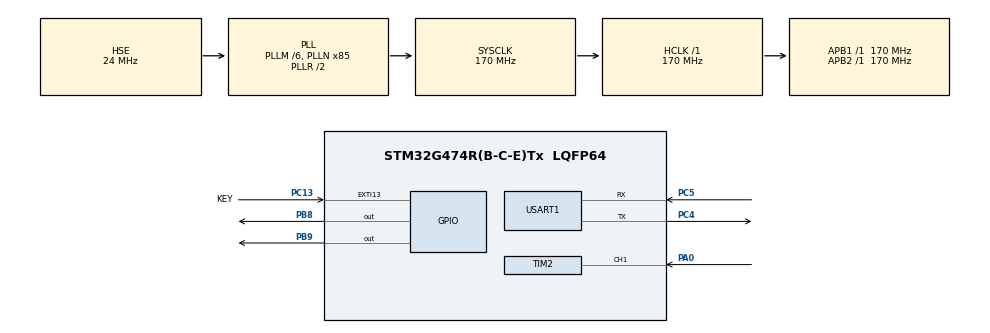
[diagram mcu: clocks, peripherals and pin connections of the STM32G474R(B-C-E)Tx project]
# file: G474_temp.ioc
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Mcu.Family=STM32G4
Mcu.Name=STM32G474R(B-C-E)Tx
Mcu.Package=LQFP64
NVIC.EXTI15_10_IRQn=true\:0\:0\:false\:false\:true\:true\:true\:true
NVIC.PriorityGroup=NVIC_PRIORITYGROUP_4
NVIC.TIM2_IRQn=true\:0\:0\:false\:false\:true\:true\:true\:true
NVIC.USART1_IRQn=true\:0\:0\:false\:false\:true\:true\:true\:true
PA0.Signal=S_TIM2_CH1
PA13.Mode=Serial_Wire
PA13.Signal=SYS_JTMS-SWDIO
PA14.Mode=Serial_Wire
PA14.Signal=SYS_JTCK-SWCLK
PB8-BOOT0.GPIO_FM8=__NULL
PB8-BOOT0.GPIO_ModeDefaultOutputPP=GPIO_MODE_OUTPUT_OD
PB8-BOOT0.GPIO_PuPd=GPIO_PULLUP
PB8-BOOT0.GPIO_Speed=GPIO_SPEED_FREQ_VERY_HIGH
PB8-BOOT0.Signal=GPIO_Output
PB9.GPIO_ModeDefaultOutputPP=GPIO_MODE_OUTPUT_OD
PB9.GPIO_PuPd=GPIO_PULLUP
PB9.GPIO_Speed=GPIO_SPEED_FREQ_VERY_HIGH
PB9.Signal=GPIO_Output
PC13.GPIO_Label=KEY
PC13.Signal=GPXTI13
PC14-OSC32_IN.Mode=LSE-External-Oscillator
PC14-OSC32_IN.Signal=RCC_OSC32_IN
PC15-OSC32_OUT.Mode=LSE-External-Oscillator
PC15-OSC32_OUT.Signal=RCC_OSC32_OUT
PC4.Mode=Asynchronous
PC4.Signal=USART1_TX
PC5.Mode=Asynchronous
PC5.Signal=USART1_RX
PF0-OSC_IN.Mode=HSE-External-Oscillator
PF0-OSC_IN.Signal=RCC_OSC_IN
PF1-OSC_OUT.Mode=HSE-External-Oscillator
PF1-OSC_OUT.Signal=RCC_OSC_OUT
ProjectManager.HeapSize=0x200
ProjectManager.StackSize=0x400
ProjectManager.TargetToolchain=MDK-ARM V5.32
RCC.ADC12Freq_Value=170000000
RCC.ADC345Freq_Value=170000000
RCC.AHBFreq_Value=170000000
RCC.APB1Freq_Value=170000000
RCC.APB1TimFreq_Value=170000000
RCC.APB2Freq_Value=170000000
RCC.APB2TimFreq_Value=170000000
RCC.CortexFreq_Value=170000000
RCC.EXTERNAL_CLOCK_VALUE=12288000
RCC.HCLKFreq_Value=170000000
RCC.HSE_VALUE=24000000
RCC.HSI48_VALUE=48000000
RCC.HSI_VALUE=16000000
RCC.PLLM=RCC_PLLM_DIV6
RCC.PLLN=85
RCC.PLLSourceVirtual=RCC_PLLSOURCE_HSE
RCC.RTCClockSelection=RCC_RTCCLKSOURCE_LSE
RCC.SYSCLKFreq_VALUE=170000000
RCC.SYSCLKSource=RCC_SYSCLKSOURCE_PLLCLK
RCC.USBFreq_Value=170000000
RCC.VCOOutputFreq_Value=340000000
SH.S_TIM2_CH1.0=TIM2_CH1,TriggerSource_TI1FP1
SH.S_TIM2_CH1.1=TIM2_CH1,Input_Capture1_from_TI1
TIM2.Channel-Input_Capture1_from_TI1=TIM_CHANNEL_1
TIM2.Channel-Input_Capture2_from_TI1_63=TIM_CHANNEL_2
TIM2.ICPolarity_CH2=TIM_INPUTCHANNELPOLARITY_FALLING
TIM2.Prescaler=0
USART1.VirtualMode-Asynchronous=VM_ASYNC
VP_SYS_VS_DBSignals.Mode=DisableDeadBatterySignals
VP_TIM2_VS_ControllerModeReset.Mode=Reset Mode
VP_TIM2_VS_indirect_ch1.Mode=Input_Capture2_from_TI1_63
board=NUCLEO-G474RE

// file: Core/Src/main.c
/* USER CODE BEGIN Header */
/**
  ******************************************************************************
  * @file           : main.c
  * @brief          : Main program body
  ******************************************************************************
  * @attention
  *
  * Copyright (c) 2023 STMicroelectronics.
  * All rights reserved.
  *
  * This software is licensed under terms that can be found in the LICENSE file
  * in the root directory of this software component.
  * If no LICENSE file comes with this software, it is provided AS-IS.
  *
  ******************************************************************************
  */
/* USER CODE END Header */
#include "main.h"
#include "tim.h"
#include "usart.h"
#include "gpio.h"

/* USER CODE BEGIN Includes */
#include "delay.h"
#include "myusart1.h"
#include "OLED_I2C.h"
/* USER CODE END Includes */

void SystemClock_Config(void);

/* USER CODE BEGIN 0 */

uint16_t PWM_RisingCount;
uint16_t PWM_FallingCount;
float duty;

/* USER CODE END 0 */

int main(void)
{

  /* MCU Configuration--------------------------------------------------------*/

  /* Reset of all peripherals, Initializes the Flash interface and the Systick. */
  HAL_Init();

  /* Configure the system clock */
  SystemClock_Config();

  /* Initialize all configured peripherals */
  MX_GPIO_Init();
  MX_USART1_UART_Init();
  MX_TIM2_Init();
  /* USER CODE BEGIN 2 */
  delay_init(170);
  MyUSART1_Init(&huart1);
  OLED_Init();
  OLED_CLS();

  OLED_ShowCN(0,0,4);						//频
  OLED_ShowCN(16,0,5);						//率
  OLED_ShowStr(100,2,(uint8_t*)"Hz",2);		//单位

  OLED_ShowCN(0,4,9);						//占
  OLED_ShowCN(16,4,10);						//空
  OLED_ShowCN(16*2,4,11);					//比
  OLED_ShowChar(100,6,'%',2);				//单位

	HAL_TIM_IC_Start_IT(&htim2,TIM_CHANNEL_1);
	HAL_TIM_IC_Start_IT(&htim2,TIM_CHANNEL_2);
  /* USER CODE END 2 */

  /* Infinite loop */
  /* USER CODE BEGIN WHILE */
  while (1)
  {
	 delay_ms(1000);
	 OLED_ShowInt(0,2,170000000/PWM_RisingCount,2);
	 OLED_ShowFloat(0,6,duty * 100,2);
	 //printf("PWM_Frequency = %d \r\n",170000000/PWM_RisingCount);
	 //printf("PWM_Duty = %.2f %% \r\n",duty * 100);
    /* USER CODE END WHILE */

  }
}

void SystemClock_Config(void)
{
  RCC_OscInitTypeDef RCC_OscInitStruct = {0};
  RCC_ClkInitTypeDef RCC_ClkInitStruct = {0};

  /** Configure the main internal regulator output voltage
  */
  HAL_PWREx_ControlVoltageScaling(PWR_REGULATOR_VOLTAGE_SCALE1_BOOST);

  /** Initializes the RCC Oscillators according to the specified parameters
  * in the RCC_OscInitTypeDef structure.
  */
  RCC_OscInitStruct.OscillatorType = RCC_OSCILLATORTYPE_HSE;
  RCC_OscInitStruct.HSEState = RCC_HSE_ON;
  RCC_OscInitStruct.PLL.PLLState = RCC_PLL_ON;
  RCC_OscInitStruct.PLL.PLLSource = RCC_PLLSOURCE_HSE;
  RCC_OscInitStruct.PLL.PLLM = RCC_PLLM_DIV6;
  RCC_OscInitStruct.PLL.PLLN = 85;
  RCC_OscInitStruct.PLL.PLLP = RCC_PLLP_DIV2;
  RCC_OscInitStruct.PLL.PLLQ = RCC_PLLQ_DIV2;
  RCC_OscInitStruct.PLL.PLLR = RCC_PLLR_DIV2;
  if (HAL_RCC_OscConfig(&RCC_OscInitStruct) != HAL_OK)
  {
    Error_Handler();
  }

  /** Initializes the CPU, AHB and APB buses clocks
  */
  RCC_ClkInitStruct.ClockType = RCC_CLOCKTYPE_HCLK|RCC_CLOCKTYPE_SYSCLK
                              |RCC_CLOCKTYPE_PCLK1|RCC_CLOCKTYPE_PCLK2;
  RCC_ClkInitStruct.SYSCLKSource = RCC_SYSCLKSOURCE_PLLCLK;
  RCC_ClkInitStruct.AHBCLKDivider = RCC_SYSCLK_DIV1;
  RCC_ClkInitStruct.APB1CLKDivider = RCC_HCLK_DIV1;
  RCC_ClkInitStruct.APB2CLKDivider = RCC_HCLK_DIV1;

  if (HAL_RCC_ClockConfig(&RCC_ClkInitStruct, FLASH_LATENCY_4) != HAL_OK)
  {
    Error_Handler();
  }
}

/* USER CODE BEGIN 4 */
void HAL_TIM_IC_CaptureCallback(TIM_HandleTypeDef *htim)
{
	if(htim->Channel == HAL_TIM_ACTIVE_CHANNEL_1)
    //注意这里为HAL_TIM_ACTIVE_CHANNEL_1而不是TIM_CHANNEL_1
	{
		PWM_RisingCount = HAL_TIM_ReadCapturedValue(&htim2,TIM_CHANNEL_1);
		duty = (float)PWM_FallingCount / PWM_RisingCount;
	}
	if(htim->Channel == HAL_TIM_ACTIVE_CHANNEL_2)
	{
		PWM_FallingCount = HAL_TIM_ReadCapturedValue(&htim2,TIM_CHANNEL_2);
	}
}

void HAL_GPIO_EXTI_Callback(uint16_t GPIO_PIN)
{
	if(KEY_Pin)
	{

	}
}
/* USER CODE END 4 */

void Error_Handler(void)
{
  __disable_irq();
  while (1)
  {
  }
}
